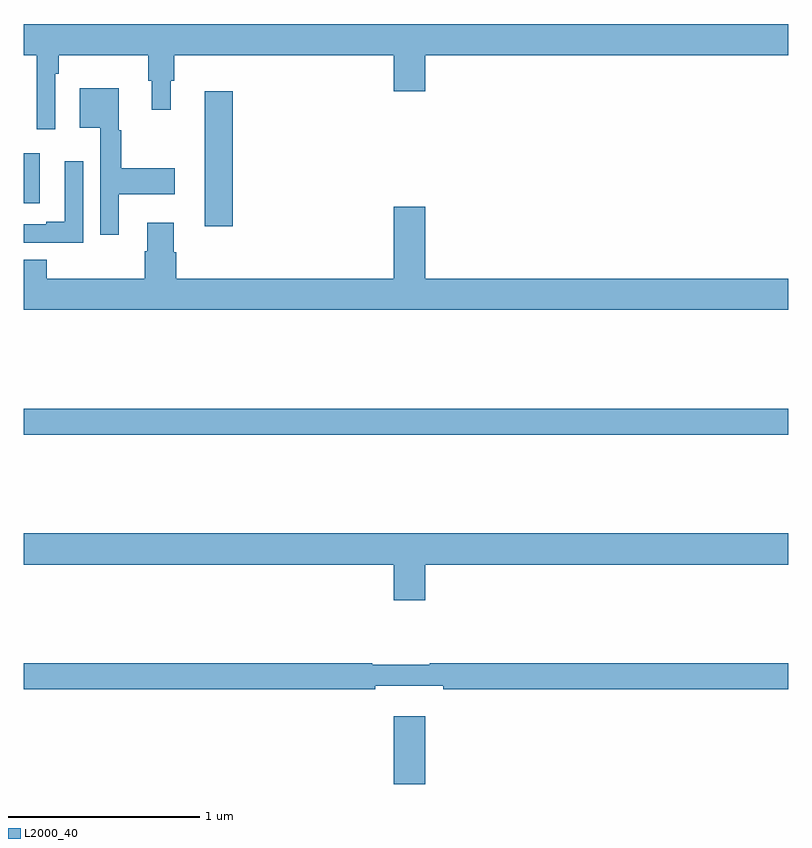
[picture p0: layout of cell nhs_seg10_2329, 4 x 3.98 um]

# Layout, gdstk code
import gdstk
lib = gdstk.Library(unit=1e-6, precision=1e-09)
def R(c, l, rs):  # rectangles x0, y0, x1, y1
    for r in rs: c.add(gdstk.rectangle(r[:2], r[2:], *l))
def P(c, l, *ps):  # polygons
    for p in ps: c.add(gdstk.Polygon(p, *l))
L2000_40 = (2000, 40)

nhs_seg10_2329 = lib.new_cell('nhs_seg10_2329')
R(nhs_seg10_2329, L2000_40, [(236.936,1300.5,237.1,1300.855), (235,1302.328,239,1302.464), (235.946,1303.419,236.093,1304.125), (235,1303.538,235.084,1303.801)])
P(nhs_seg10_2329, L2000_40, [(235,1304.312),(235.067,1304.312),(235.067,1303.926),(235.164,1303.926),(235.164,1304.216),(235.184,1304.216),(235.184,1304.312),(235.651,1304.312),(235.651,1304.178),(235.67,1304.178),(235.67,1304.028),(235.768,1304.028),(235.768,1304.178),(235.787,1304.178),(235.787,1304.312),(236.936,1304.312),(236.936,1304.124),(237.1,1304.124),(237.1,1304.312),(239,1304.312),(239,1304.476),(235,1304.476)],
  [(235.498,1303.586),(235.789,1303.586),(235.789,1303.721),(235.51,1303.721),(235.51,1303.92),(235.498,1303.92),(235.498,1304.14),(235.292,1304.14),(235.292,1303.934),(235.401,1303.934),(235.401,1303.374),(235.498,1303.374)],
  [(235.311,1303.759),(235.214,1303.759),(235.214,1303.441),(235.118,1303.441),(235.118,1303.428),(235,1303.428),(235,1303.332),(235.311,1303.332)],
  [(239,1303.144),(237.1,1303.144),(237.1,1303.519),(236.936,1303.519),(236.936,1303.144),(235.799,1303.144),(235.799,1303.281),(235.786,1303.281),(235.786,1303.435),(235.646,1303.435),(235.646,1303.286),(235.634,1303.286),(235.634,1303.144),(235.121,1303.144),(235.121,1303.242),(235,1303.242),(235,1302.98),(239,1302.98)],
  [(237.1,1301.648),(239,1301.648),(239,1301.812),(235,1301.812),(235,1301.648),(236.936,1301.648),(236.936,1301.46),(237.1,1301.46)],
  [(236.84,1301.015),(237.196,1301.015),(237.196,1300.996),(239,1300.996),(239,1301.132),(237.124,1301.132),(237.124,1301.125),(236.824,1301.125),(236.824,1301.132),(235,1301.132),(235,1300.996),(236.84,1300.996)])

lib.write_gds('nhs_seg10_2329.gds')
